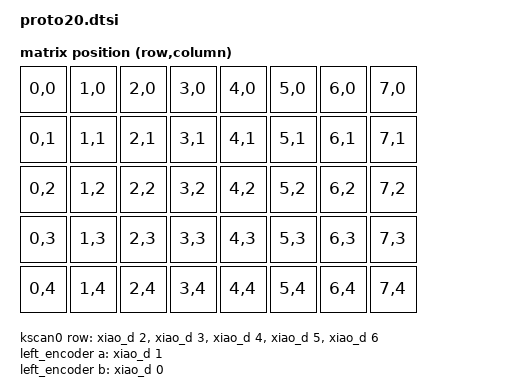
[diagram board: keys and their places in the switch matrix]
#include <dt-bindings/zmk/matrix_transform.h>

/ {

    chosen {
        zmk,kscan = &kscan0;
        zmk,matrix_transform = &default_transform;
    };

    default_transform: keymap_transform_0 {
        compatible = "zmk,matrix_transform";
        columns = <8>;
        rows = <5>;
        map = <
        RC(0,0) RC(1,0) RC(2,0) RC(3,0) RC(4,0) RC(5,0) RC(6,0) RC(7,0)
        RC(0,1) RC(1,1) RC(2,1) RC(3,1) RC(4,1) RC(5,1) RC(6,1) RC(7,1)
        RC(0,2) RC(1,2) RC(2,2) RC(3,2) RC(4,2) RC(5,2) RC(6,2) RC(7,2)
        RC(0,3) RC(1,3) RC(2,3) RC(3,3) RC(4,3) RC(5,3) RC(6,3) RC(7,3)
        RC(0,4) RC(1,4) RC(2,4) RC(3,4) RC(4,4) RC(5,4) RC(6,4) RC(7,4)
        >;
    };

kscan0: kscan_0 {
            compatible = "zmk,kscan-gpio-matrix";
            label = "KSCAN";
            diode-direction = "row2col";
            row-gpios
                = <&xiao_d 2 GPIO_ACTIVE_HIGH>
                , <&xiao_d 3 GPIO_ACTIVE_HIGH>
                , <&xiao_d 4 GPIO_ACTIVE_HIGH>
                , <&xiao_d 5 GPIO_ACTIVE_HIGH>
                , <&xiao_d 6 GPIO_ACTIVE_HIGH>
                ;
        };

left_encoder: encoder_left {
                  compatible = "alps,ec11";
                  label = "LEFT_ENCODER";
                  a-gpios = <&xiao_d 1 (GPIO_ACTIVE_HIGH | GPIO_PULL_UP)>;
                  b-gpios = <&xiao_d 0 (GPIO_ACTIVE_HIGH | GPIO_PULL_UP)>;
                  resolution = <4>;
                  status = "disabled";
              };

              sensors {
                  compatible = "zmk,keymap-sensors";
                  sensors = <&left_encoder>;
              };
